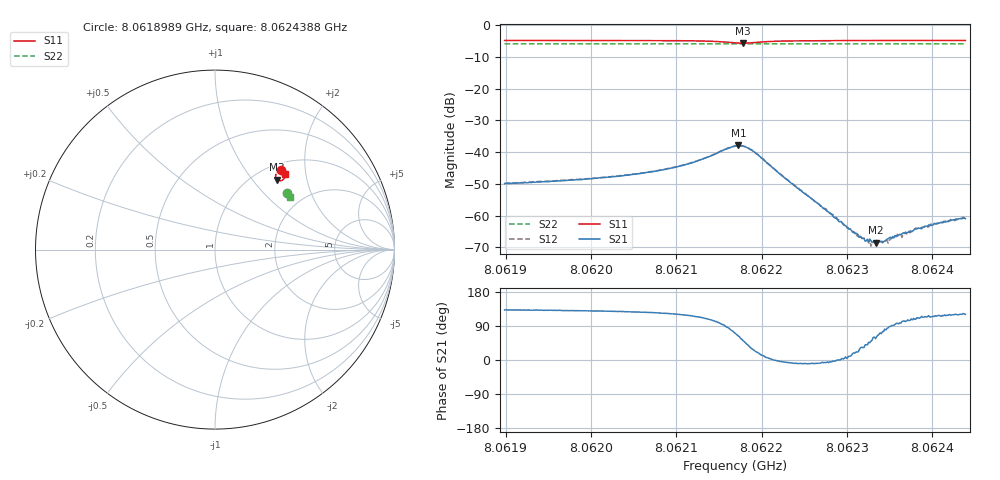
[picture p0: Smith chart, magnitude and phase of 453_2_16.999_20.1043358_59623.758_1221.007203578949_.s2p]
#  HZ  S  RI  R  50.00
! Rohde & Schwarz Vector Network Analyzer
! Rohde-Schwarz,ZNB20-2Port,1311601062101988,3.16
! Created: UTC 3/20/2024, 11:12:21 PM
! freq[Hz]  re:S11  im:S11  re:S21  im:S21  re:S12  im:S12  re:S22  im:S22
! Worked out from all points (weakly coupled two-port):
!   401 points, 8.0618989 GHz to 8.0624388 GHz, reference 50 ohm
!   highest |S21| = -37.91 dB at 8.0621729 GHz (marker M1); lowest = -68.6 dB at 8.0623335 GHz (marker M2)
!   lowest |S11| = -5.7 dB at 8.0621783 GHz (marker M3), VSWR 3.18, Z = 62.7 + j67.3 ohm
!   |S11| at or under -10 dB: nowhere
!   |S22| runs from -5.9 to -5.8 dB; largest |S21 - S12| = 0.001
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8.06189892e9  0.3704 0.4411  -0.00212 0.00237  -0.002 0.00249  0.3999 0.3173
8.06198935e9  0.3772 0.4349  -0.00235 0.00283  -0.00224 0.00303  0.4032 0.3125
8.06204334e9  0.3816 0.4301  -0.00264 0.00345  -0.00243 0.00362  0.4052 0.3098
8.06207978e9  0.3851 0.4251  -0.00288 0.00424  -0.00264 0.00445  0.4066 0.3078
8.06212027e9  0.3889 0.4143  -0.003 0.00621  -0.00264 0.00644  0.408 0.3054
8.06216886e9  0.3631 0.3837  0.00409 0.0119  0.00475 0.0116  0.4082 0.3021
8.06217291e9  0.3554 0.3849  0.00572 0.0114  0.00647 0.011  0.4078 0.302
8.06217831e9  0.3458 0.3906  0.0078 0.00969  0.00838 0.00922  0.4076 0.302
8.06219316e9  0.3382 0.416  0.00881 0.00366  0.00915 0.00318  0.4082 0.3026
8.0622215e9  0.3572 0.4346  0.0045 -0.000304  0.00452 -0.000545  0.4102 0.302
8.06225929e9  0.3716 0.4345  0.00179 -0.000276  0.00176 -0.000393  0.4122 0.2998
8.06229978e9  0.379 0.4315  0.000662 4.84e-05  0.000637 4.15e-05  0.4139 0.2977
8.06231598e9  0.3812 0.4304  0.000395 0.000253  0.000427 0.000197  0.4144 0.2968
8.06232678e9  0.3822 0.4297  0.000298 0.000305  0.00027 0.000297  0.4148 0.2963
8.06233353e9  0.3831 0.4292  0.000206 0.000309  0.000235 0.000302  0.4151 0.2961
8.06234298e9  0.3839 0.4286  0.0001 0.000376  0.000112 0.00035  0.4154 0.2954
8.06234972e9  0.3846 0.428  1.49e-05 0.000446  4.43e-05 0.000405  0.4156 0.2952
8.06235782e9  0.3854 0.4276  -5.17e-05 0.000476  -2.49e-05 0.000465  0.4158 0.2947
8.06236457e9  0.3861 0.4272  -0.000104 0.000499  -2.22e-05 0.000452  0.4161 0.2943
8.06238077e9  0.3875 0.4261  -0.000187 0.000584  -0.000166 0.000616  0.4168 0.2934
8.06240101e9  0.389 0.4248  -0.0003 0.000645  -0.000286 0.000706  0.4175 0.2925
8.06243881e9  0.3918 0.4226  -0.000452 0.000771  -0.00041 0.000812  0.4188 0.2904
